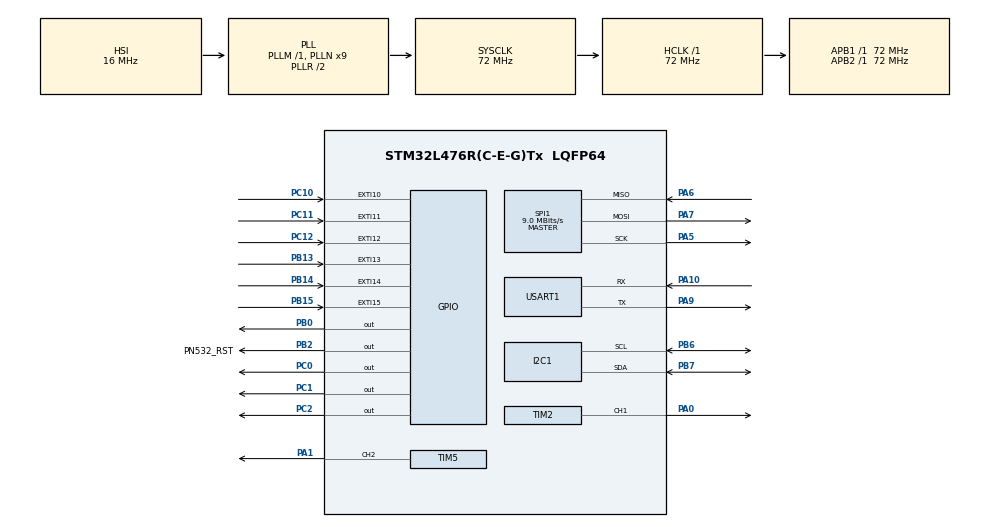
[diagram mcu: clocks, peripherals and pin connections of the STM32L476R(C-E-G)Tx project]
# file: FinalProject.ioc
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Dma.Request0=TIM2_CH1
Dma.TIM2_CH1.0.Direction=DMA_MEMORY_TO_PERIPH
Dma.TIM2_CH1.0.Instance=DMA1_Channel5
Dma.TIM2_CH1.0.MemDataAlignment=DMA_MDATAALIGN_BYTE
Dma.TIM2_CH1.0.MemInc=DMA_MINC_ENABLE
Dma.TIM2_CH1.0.Mode=DMA_CIRCULAR
Dma.TIM2_CH1.0.PeriphDataAlignment=DMA_PDATAALIGN_WORD
Dma.TIM2_CH1.0.PeriphInc=DMA_PINC_DISABLE
Dma.TIM2_CH1.0.Priority=DMA_PRIORITY_HIGH
FATFS._MAX_SS=4096
FATFS._USE_LFN=1
I2C1.OwnAddress=0x48
I2C1.Timing=0x10808DD3
Mcu.Family=STM32L4
Mcu.Name=STM32L476R(C-E-G)Tx
Mcu.Package=LQFP64
NVIC.DMA1_Channel5_IRQn=true\:0\:0\:false\:false\:true\:false\:true
NVIC.EXTI15_10_IRQn=true\:0\:0\:false\:false\:true\:true\:true
NVIC.PriorityGroup=NVIC_PRIORITYGROUP_4
NVIC.TIM3_IRQn=true\:0\:0\:false\:false\:true\:true\:true
PA0.Signal=S_TIM2_CH1
PA1.Signal=S_TIM5_CH2
PA10.Mode=Asynchronous
PA10.Signal=USART1_RX
PA13\ (JTMS-SWDIO).Mode=Serial_Wire
PA13\ (JTMS-SWDIO).Signal=SYS_JTMS-SWDIO
PA14\ (JTCK-SWCLK).Mode=Serial_Wire
PA14\ (JTCK-SWCLK).Signal=SYS_JTCK-SWCLK
PA5.Mode=Full_Duplex_Master
PA5.Signal=SPI1_SCK
PA6.Mode=Full_Duplex_Master
PA6.Signal=SPI1_MISO
PA7.Mode=Full_Duplex_Master
PA7.Signal=SPI1_MOSI
PA9.Mode=Asynchronous
PA9.Signal=USART1_TX
PB0.GPIO_Speed=GPIO_SPEED_FREQ_MEDIUM
PB0.PinState=GPIO_PIN_SET
PB0.Signal=GPIO_Output
PB13.GPIO_ModeDefaultEXTI=GPIO_MODE_IT_FALLING
PB13.Signal=GPXTI13
PB14.GPIO_ModeDefaultEXTI=GPIO_MODE_IT_FALLING
PB14.Signal=GPXTI14
PB15.GPIO_ModeDefaultEXTI=GPIO_MODE_IT_FALLING
PB15.Signal=GPXTI15
PB2.GPIO_Label=PN532_RST
PB2.GPIO_PuPd=GPIO_PULLUP
PB2.PinState=GPIO_PIN_SET
PB2.Signal=GPIO_Output
PB6.Mode=I2C
PB6.Signal=I2C1_SCL
PB7.Mode=I2C
PB7.Signal=I2C1_SDA
PC0.GPIO_Speed=GPIO_SPEED_FREQ_HIGH
PC0.PinState=GPIO_PIN_SET
PC0.Signal=GPIO_Output
PC1.GPIO_Speed=GPIO_SPEED_FREQ_HIGH
PC1.PinState=GPIO_PIN_SET
PC1.Signal=GPIO_Output
PC10.GPIO_ModeDefaultEXTI=GPIO_MODE_IT_FALLING
PC10.GPIO_PuPd=GPIO_PULLUP
PC10.Signal=GPXTI10
PC11.GPIO_ModeDefaultEXTI=GPIO_MODE_IT_FALLING
PC11.GPIO_PuPd=GPIO_PULLUP
PC11.Signal=GPXTI11
PC12.GPIO_ModeDefaultEXTI=GPIO_MODE_IT_FALLING
PC12.GPIO_PuPd=GPIO_PULLUP
PC12.Signal=GPXTI12
PC2.GPIO_Speed=GPIO_SPEED_FREQ_HIGH
PC2.PinState=GPIO_PIN_SET
PC2.Signal=GPIO_Output
PH0-OSC_IN\ (PH0).Mode=HSE-External-Oscillator
PH0-OSC_IN\ (PH0).Signal=RCC_OSC_IN
PH1-OSC_OUT\ (PH1).Mode=HSE-External-Oscillator
PH1-OSC_OUT\ (PH1).Signal=RCC_OSC_OUT
ProjectManager.HeapSize=0x200
ProjectManager.StackSize=0x400
ProjectManager.TargetToolchain=STM32CubeIDE
RCC.ADCFreq_Value=64000000
RCC.AHBFreq_Value=72000000
RCC.APB1Freq_Value=72000000
RCC.APB1TimFreq_Value=72000000
RCC.APB2Freq_Value=72000000
RCC.APB2TimFreq_Value=72000000
RCC.CortexFreq_Value=72000000
RCC.HCLKFreq_Value=72000000
RCC.HSE_VALUE=8000000
RCC.HSI_VALUE=16000000
RCC.LSE_VALUE=32768
RCC.MSI_VALUE=4000000
RCC.PLLN=9
RCC.PLLSAI1Q=RCC_PLLQ_DIV4
RCC.PLLSourceVirtual=RCC_PLLSOURCE_HSI
RCC.SYSCLKFreq_VALUE=72000000
RCC.SYSCLKSource=RCC_SYSCLKSOURCE_PLLCLK
RCC.USBFreq_Value=32000000
RCC.VCOOutputFreq_Value=144000000
SH.S_TIM2_CH1.0=TIM2_CH1,PWM Generation1 CH1
SH.S_TIM5_CH2.0=TIM5_CH2,PWM Generation2 CH2
SPI1.BaudRatePrescaler=SPI_BAUDRATEPRESCALER_8
SPI1.CalculateBaudRate=9.0 MBits/s
SPI1.DataSize=SPI_DATASIZE_8BIT
SPI1.Direction=SPI_DIRECTION_2LINES
SPI1.Mode=SPI_MODE_MASTER
SPI1.VirtualType=VM_MASTER
TIM2.Channel-PWM\ Generation1\ CH1=TIM_CHANNEL_1
TIM2.Period=90-1
TIM3.AutoReloadPreload=TIM_AUTORELOAD_PRELOAD_ENABLE
TIM3.Period=9999
TIM3.Prescaler=7199
TIM5.AutoReloadPreload=TIM_AUTORELOAD_PRELOAD_ENABLE
TIM5.Channel-PWM\ Generation2\ CH2=TIM_CHANNEL_2
TIM5.Period=3600
TIM5.Prescaler=100
TIM5.Pulse-PWM\ Generation2\ CH2=2000
USART1.VirtualMode-Asynchronous=VM_ASYNC
VP_FATFS_VS_Generic.Mode=User_defined
VP_RNG_VS_RNG.Mode=RNG_Activate
VP_TIM2_VS_ClockSourceINT.Mode=Internal
VP_TIM3_VS_ClockSourceINT.Mode=Internal
VP_TIM5_VS_ClockSourceINT.Mode=Internal
board=custom

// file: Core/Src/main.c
/* USER CODE BEGIN Header */
/**
  ******************************************************************************
  * @file           : main.c
  * @brief          : Main program body
  ******************************************************************************
  * @attention
  *
  * <h2><center>&copy; Copyright (c) 2020 STMicroelectronics.
  * All rights reserved.</center></h2>
  *
  * This software component is licensed by ST under BSD 3-Clause license,
  * the "License"; You may not use this file except in compliance with the
  * License. You may obtain a copy of the License at:
  *                        opensource.org/licenses/BSD-3-Clause
  *
  ******************************************************************************
  */
/* USER CODE END Header */
#include "main.h"
#include "fatfs.h"

/* USER CODE BEGIN Includes */
#include "fatfs_sd.h"
#include "string.h"
#include "stdio.h"
#include "sk6812.h"
#include "pn532_stm32f1.h"
#define SET_REG(REG,SELECT,VAL) {((REG)=((REG)&(~(SELECT))) | (VAL));}
extern void max7219_init();
extern void ClearScreen();
extern void max7219_send(unsigned char, unsigned char);
extern void Max7219Display(int num, int score);
int time;
int score;
int my_hash[100] = {
	1,5,3,6,3,2,3,5,3,2,1,6,4,5,3,2,4,3,2,4,
	1,6,3,5,2,5,2,4,3,2,6,3,2,4,3,5,6,2,5,3,
	1,3,2,5,3,4,6,3,5,4,2,1,2,1,4,3,6,4,3,5,
	6,4,6,1,3,2,5,3,3,5,2,6,5,4,3,2,4,3,6,3,
	1,4,1,2,4,6,2,5,3,4,2,5,4,6,3,2,4,2,1,5
};
int hash_num = 0;
int hash_out = 0;

#define STATE_IDLE 0
#define STATE_READY 1
#define STATE_PLAY 2

int state = STATE_IDLE;

/* USER CODE END Includes */

I2C_HandleTypeDef hi2c1;

RNG_HandleTypeDef hrng;

SPI_HandleTypeDef hspi1;

TIM_HandleTypeDef htim2;
TIM_HandleTypeDef htim3;
TIM_HandleTypeDef htim5;
DMA_HandleTypeDef hdma_tim2_ch1;

UART_HandleTypeDef huart1;

void SystemClock_Config(void);
static void MX_GPIO_Init(void);
static void MX_DMA_Init(void);
static void MX_SPI1_Init(void);
static void MX_USART1_UART_Init(void);
static void MX_TIM2_Init(void);
static void MX_RNG_Init(void);
static void MX_TIM3_Init(void);
static void MX_TIM5_Init(void);
static void MX_I2C1_Init(void);
/* USER CODE BEGIN PFP */
uint32_t hsl_to_rgb(uint8_t h, uint8_t s, uint8_t l);
void Max7219Display(int num, int score);
/* USER CODE END PFP */

/* USER CODE BEGIN 0 */
FATFS fs; // file system
FIL fil; // file
FRESULT fresult; // to store the result
char buffer[1024]; // to store data

UINT br,bw;   //file read/write count

/*capacity related variables*/
FATFS *pfs;
DWORD fre_clust;
uint32_t total, free_space;

/* to send the data to the uart*/
void send_uart(char *string)
{
	uint8_t len = strlen(string);
	HAL_UART_Transmit(&huart1, (uint8_t *) string, len, 2000);
}

int bufsize(char *buf)
{
	int i=0;
	while(*buf++ != '\0') i++;
	return i;
}

void bufclear(void)
{
	for(int i=0;i<1024;i++)
	{
		buffer[i] = '\0';
	}
}

void writedata(char *filename,char *data)
{
	bufclear();
	fresult = f_open(&fil, filename, FA_READ);
	if (fresult == FR_OK)
	{
		//send_uart ("file exist \r\n");
		f_gets(buffer, sizeof(buffer), &fil);
		//send_uart(buffer);
		//send_uart("\r\n");
		f_close(&fil);
	}
	fresult = f_open(&fil, filename, FA_OPEN_ALWAYS | FA_READ | FA_WRITE);
	if (fresult == FR_OK)
	{
		//send_uart ("file is opened \r\n");
	}
	strcat(buffer, data);
	f_puts(buffer, &fil);
	fresult = f_close(&fil);
	if (fresult == FR_OK)
	{
		//send_uart ("file created and the data is written \r\n");
	}
}

int readdata(char *filename)
{
	bufclear();
	fresult = f_open(&fil, filename, FA_READ);
	if (fresult == FR_OK)
	{
		//send_uart ("exist \r\n");
		f_gets(buffer, sizeof(buffer), &fil);
		//send_uart(buffer);
		//send_uart("\r\n");
		f_close(&fil);
		return 1;
	}
	return 0;
}

/* USER CODE END 0 */

int main(void)
{
  /* USER CODE BEGIN 1 */
	uint8_t buff[255];
	uint8_t uid[MIFARE_UID_MAX_LENGTH];
	int32_t uid_len = 0;
  /* USER CODE END 1 */

  /* MCU Configuration--------------------------------------------------------*/

  /* Reset of all peripherals, Initializes the Flash interface and the Systick. */
  HAL_Init();

  /* Configure the system clock */
  SystemClock_Config();

  /* Initialize all configured peripherals */
  MX_GPIO_Init();
  MX_DMA_Init();
  MX_SPI1_Init();
  MX_USART1_UART_Init();
  MX_FATFS_Init();
  MX_TIM2_Init();
  MX_RNG_Init();
  MX_TIM3_Init();
  MX_TIM5_Init();
  MX_I2C1_Init();
  /* USER CODE BEGIN 2 */

  //pn532 start
  HAL_NVIC_DisableIRQ(EXTI15_10_IRQn);
  PN532 pn532;
  PN532_I2C_Init(&pn532);
  PN532_GetFirmwareVersion(&pn532, buff);

  if (PN532_GetFirmwareVersion(&pn532, buff) == PN532_STATUS_OK) {
	send_uart("Found PN532 with firmware version\r\n");
  } else {
	send_uart("FAIL");
	return -1;
  }
  PN532_SamConfiguration(&pn532);
  send_uart("\r\nWaiting for RFID/NFC card...\r\n");
//pn532 end

  char uid_str[15] = {0};
  char uid_str_display[15] = {0};

  SET_REG(RCC->CFGR,RCC_CFGR_HPRE,0b1011<<4)
  max7219_init();
  ClearScreen();
  SET_REG(RCC->CFGR,RCC_CFGR_HPRE,0b0000<<4)
  int8_t angle = 0;
  const uint8_t angle_difference = 11;
  time = 0;
  score = 0;
  Max7219Display(0,0);
  HAL_TIM_Base_Start_IT(&htim3);

  score = 0;
  hash_num = 0;
  Max7219Display(score,0);
  /* Mount SD Card*/

  fresult = f_mount(&fs, "", 0);
  if(fresult != FR_OK) send_uart("error in mounting SD CARD ... \r\n");
  else send_uart("SD CARD mounted successfully ... \r\n");

  int now_time = 0, prev_time = 0;

  /* USER CODE END 2 */

  /* Infinite loop */
  /* USER CODE BEGIN WHILE */
  //led_set_all_RGB(255,255,255);

  //led_set_RGB(0,255,0,0);
  //led_set_RGB(1,0,255,0);
  //led_set_RGB(2,0,0,255);
  //led_render(); // transmit to WS2812
  while (1)
  {
    /* USER CODE END WHILE */

    /* USER CODE BEGIN 3 */prev_time = now_time;
	now_time = time;
	if(prev_time != time){
		HAL_TIM_PWM_Start(&htim5, TIM_CHANNEL_2);
		HAL_Delay(20);
		HAL_TIM_PWM_Stop(&htim5, TIM_CHANNEL_2);
	}

	if(state == STATE_IDLE){
		//LED start
		for(uint8_t i = 0; i < 132 ; i++)
	  {
		// Calculate color
		uint32_t rgb_color = hsl_to_rgb(angle + (i * angle_difference), 255, 50); // hue, saturation, lightness
		// Set color
		led_set_RGB(i, (rgb_color >> 16) & 0xFF, (rgb_color >> 8) & 0xFF, rgb_color & 0xFF);
	   }
		// Write to LED
		angle+=10;
		led_render();
		// Some delay
		HAL_Delay(10);
		//LED end

		uid_len = PN532_ReadPassiveTarget(&pn532, uid, PN532_MIFARE_ISO14443A, 100);
		if (uid_len == PN532_STATUS_ERROR) {
			//send_uart(".");
		} else {
			send_uart("Found card with UID: ");
		  for (uint8_t i = 0; i < uid_len; i++) {
			  char temp[10];
			  itoa(uid[i], temp, 16);
			  send_uart(temp);
			  if(i < uid_len-1)
				  send_uart("_");
			  uid_str[i*2] = temp[0];
			  uid_str[i*2+1] = temp[1];
		  }
		  strcpy(uid_str_display, uid_str);
		  strcat(uid_str, ".txt");
		  send_uart("  uid:");
		  send_uart(uid_str);
		  send_uart("\r\n");

		  for(int i = 0; i <132; i ++)
			  led_set_RGB(i,0,0,0);

		  led_render();
		  state = STATE_READY;
		  score = 0;
		  Max7219Display(score,0);
		  time = 4;
		  HAL_TIM_Base_Start_IT(&htim3);
		}
	}
	else if(state == STATE_READY){
		if(time == 0){
			time = 61;
			state = STATE_PLAY;
			if(readdata(uid_str))
			{
				send_uart("Hello: ");
				send_uart(uid_str_display);
				send_uart("\r\n");
				send_uart("Your history scores are \r\n");
				send_uart(buffer);
			}else
			{
				send_uart("New User: ");
				send_uart(uid_str_display);
				send_uart("\r\n");
			}
			int hash_out = my_hash[hash_num];
			for(int i = 1; i <= 6; i ++){
				for(int j = 0; j < 3; j++){//change here
					if(i == hash_out)
						led_set_RGB((i-1)*1+j+1,0,255,0);
					else
						led_set_RGB((i-1)*1+j+1,0,  0,0);
				}
			}
			led_render();

			HAL_NVIC_EnableIRQ(EXTI15_10_IRQn);
			HAL_TIM_Base_Start_IT(&htim3);
		}
	}
	else if(state == STATE_PLAY){
		if(time == 0){
			time = 0;
			HAL_NVIC_DisableIRQ(EXTI15_10_IRQn);
			state = STATE_IDLE;
			char tempp[10];
			itoa(score, tempp, 10);
			writedata(uid_str, tempp);
			writedata(uid_str, ", ");
			send_uart("Waiting for RFID/NFC card...\r\n");
			memset(uid_str, 0, 15);
		}
	}
	else{
		HAL_NVIC_DisableIRQ(EXTI15_10_IRQn);
		state = STATE_IDLE;
		send_uart("Waiting for RFID/NFC card...\r\n");
	}

  }
  /* USER CODE END 3 */
}

void SystemClock_Config(void)
{
  RCC_OscInitTypeDef RCC_OscInitStruct = {0};
  RCC_ClkInitTypeDef RCC_ClkInitStruct = {0};
  RCC_PeriphCLKInitTypeDef PeriphClkInit = {0};

  /** Initializes the RCC Oscillators according to the specified parameters
  * in the RCC_OscInitTypeDef structure.
  */
  RCC_OscInitStruct.OscillatorType = RCC_OSCILLATORTYPE_HSI;
  RCC_OscInitStruct.HSIState = RCC_HSI_ON;
  RCC_OscInitStruct.HSICalibrationValue = RCC_HSICALIBRATION_DEFAULT;
  RCC_OscInitStruct.PLL.PLLState = RCC_PLL_ON;
  RCC_OscInitStruct.PLL.PLLSource = RCC_PLLSOURCE_HSI;
  RCC_OscInitStruct.PLL.PLLM = 1;
  RCC_OscInitStruct.PLL.PLLN = 9;
  RCC_OscInitStruct.PLL.PLLP = RCC_PLLP_DIV7;
  RCC_OscInitStruct.PLL.PLLQ = RCC_PLLQ_DIV2;
  RCC_OscInitStruct.PLL.PLLR = RCC_PLLR_DIV2;
  if (HAL_RCC_OscConfig(&RCC_OscInitStruct) != HAL_OK)
  {
    Error_Handler();
  }
  /** Initializes the CPU, AHB and APB buses clocks
  */
  RCC_ClkInitStruct.ClockType = RCC_CLOCKTYPE_HCLK|RCC_CLOCKTYPE_SYSCLK
                              |RCC_CLOCKTYPE_PCLK1|RCC_CLOCKTYPE_PCLK2;
  RCC_ClkInitStruct.SYSCLKSource = RCC_SYSCLKSOURCE_PLLCLK;
  RCC_ClkInitStruct.AHBCLKDivider = RCC_SYSCLK_DIV1;
  RCC_ClkInitStruct.APB1CLKDivider = RCC_HCLK_DIV1;
  RCC_ClkInitStruct.APB2CLKDivider = RCC_HCLK_DIV1;

  if (HAL_RCC_ClockConfig(&RCC_ClkInitStruct, FLASH_LATENCY_4) != HAL_OK)
  {
    Error_Handler();
  }
  PeriphClkInit.PeriphClockSelection = RCC_PERIPHCLK_USART1|RCC_PERIPHCLK_I2C1
                              |RCC_PERIPHCLK_RNG;
  PeriphClkInit.Usart1ClockSelection = RCC_USART1CLKSOURCE_PCLK2;
  PeriphClkInit.I2c1ClockSelection = RCC_I2C1CLKSOURCE_PCLK1;
  PeriphClkInit.RngClockSelection = RCC_RNGCLKSOURCE_PLLSAI1;
  PeriphClkInit.PLLSAI1.PLLSAI1Source = RCC_PLLSOURCE_HSI;
  PeriphClkInit.PLLSAI1.PLLSAI1M = 1;
  PeriphClkInit.PLLSAI1.PLLSAI1N = 8;
  PeriphClkInit.PLLSAI1.PLLSAI1P = RCC_PLLP_DIV7;
  PeriphClkInit.PLLSAI1.PLLSAI1Q = RCC_PLLQ_DIV4;
  PeriphClkInit.PLLSAI1.PLLSAI1R = RCC_PLLR_DIV2;
  PeriphClkInit.PLLSAI1.PLLSAI1ClockOut = RCC_PLLSAI1_48M2CLK;
  if (HAL_RCCEx_PeriphCLKConfig(&PeriphClkInit) != HAL_OK)
  {
    Error_Handler();
  }
  /** Configure the main internal regulator output voltage
  */
  if (HAL_PWREx_ControlVoltageScaling(PWR_REGULATOR_VOLTAGE_SCALE1) != HAL_OK)
  {
    Error_Handler();
  }
}

static void MX_I2C1_Init(void)
{

  hi2c1.Instance = I2C1;
  hi2c1.Init.Timing = 0x10808DD3;
  hi2c1.Init.OwnAddress1 = 144;
  hi2c1.Init.AddressingMode = I2C_ADDRESSINGMODE_7BIT;
  hi2c1.Init.DualAddressMode = I2C_DUALADDRESS_DISABLE;
  hi2c1.Init.OwnAddress2 = 0;
  hi2c1.Init.OwnAddress2Masks = I2C_OA2_NOMASK;
  hi2c1.Init.GeneralCallMode = I2C_GENERALCALL_DISABLE;
  hi2c1.Init.NoStretchMode = I2C_NOSTRETCH_DISABLE;
  if (HAL_I2C_Init(&hi2c1) != HAL_OK)
  {
    Error_Handler();
  }
  /** Configure Analogue filter
  */
  if (HAL_I2CEx_ConfigAnalogFilter(&hi2c1, I2C_ANALOGFILTER_ENABLE) != HAL_OK)
  {
    Error_Handler();
  }
  /** Configure Digital filter
  */
  if (HAL_I2CEx_ConfigDigitalFilter(&hi2c1, 0) != HAL_OK)
  {
    Error_Handler();
  }

}

static void MX_RNG_Init(void)
{

  hrng.Instance = RNG;
  if (HAL_RNG_Init(&hrng) != HAL_OK)
  {
    Error_Handler();
  }

}

static void MX_SPI1_Init(void)
{

  /* SPI1 parameter configuration*/
  hspi1.Instance = SPI1;
  hspi1.Init.Mode = SPI_MODE_MASTER;
  hspi1.Init.Direction = SPI_DIRECTION_2LINES;
  hspi1.Init.DataSize = SPI_DATASIZE_8BIT;
  hspi1.Init.CLKPolarity = SPI_POLARITY_LOW;
  hspi1.Init.CLKPhase = SPI_PHASE_1EDGE;
  hspi1.Init.NSS = SPI_NSS_SOFT;
  hspi1.Init.BaudRatePrescaler = SPI_BAUDRATEPRESCALER_8;
  hspi1.Init.FirstBit = SPI_FIRSTBIT_MSB;
  hspi1.Init.TIMode = SPI_TIMODE_DISABLE;
  hspi1.Init.CRCCalculation = SPI_CRCCALCULATION_DISABLE;
  hspi1.Init.CRCPolynomial = 7;
  hspi1.Init.CRCLength = SPI_CRC_LENGTH_DATASIZE;
  hspi1.Init.NSSPMode = SPI_NSS_PULSE_ENABLE;
  if (HAL_SPI_Init(&hspi1) != HAL_OK)
  {
    Error_Handler();
  }

}

static void MX_TIM2_Init(void)
{

  TIM_ClockConfigTypeDef sClockSourceConfig = {0};
  TIM_MasterConfigTypeDef sMasterConfig = {0};
  TIM_OC_InitTypeDef sConfigOC = {0};

  htim2.Instance = TIM2;
  htim2.Init.Prescaler = 0;
  htim2.Init.CounterMode = TIM_COUNTERMODE_UP;
  htim2.Init.Period = 90-1;
  htim2.Init.ClockDivision = TIM_CLOCKDIVISION_DIV1;
  htim2.Init.AutoReloadPreload = TIM_AUTORELOAD_PRELOAD_DISABLE;
  if (HAL_TIM_Base_Init(&htim2) != HAL_OK)
  {
    Error_Handler();
  }
  sClockSourceConfig.ClockSource = TIM_CLOCKSOURCE_INTERNAL;
  if (HAL_TIM_ConfigClockSource(&htim2, &sClockSourceConfig) != HAL_OK)
  {
    Error_Handler();
  }
  if (HAL_TIM_PWM_Init(&htim2) != HAL_OK)
  {
    Error_Handler();
  }
  sMasterConfig.MasterOutputTrigger = TIM_TRGO_RESET;
  sMasterConfig.MasterSlaveMode = TIM_MASTERSLAVEMODE_DISABLE;
  if (HAL_TIMEx_MasterConfigSynchronization(&htim2, &sMasterConfig) != HAL_OK)
  {
    Error_Handler();
  }
  sConfigOC.OCMode = TIM_OCMODE_PWM1;
  sConfigOC.Pulse = 0;
  sConfigOC.OCPolarity = TIM_OCPOLARITY_HIGH;
  sConfigOC.OCFastMode = TIM_OCFAST_DISABLE;
  if (HAL_TIM_PWM_ConfigChannel(&htim2, &sConfigOC, TIM_CHANNEL_1) != HAL_OK)
  {
    Error_Handler();
  }
  HAL_TIM_MspPostInit(&htim2);

}

static void MX_TIM3_Init(void)
{

  TIM_ClockConfigTypeDef sClockSourceConfig = {0};
  TIM_MasterConfigTypeDef sMasterConfig = {0};

  htim3.Instance = TIM3;
  htim3.Init.Prescaler = 7199;
  htim3.Init.CounterMode = TIM_COUNTERMODE_UP;
  htim3.Init.Period = 9999;
  htim3.Init.ClockDivision = TIM_CLOCKDIVISION_DIV1;
  htim3.Init.AutoReloadPreload = TIM_AUTORELOAD_PRELOAD_ENABLE;
  if (HAL_TIM_Base_Init(&htim3) != HAL_OK)
  {
    Error_Handler();
  }
  sClockSourceConfig.ClockSource = TIM_CLOCKSOURCE_INTERNAL;
  if (HAL_TIM_ConfigClockSource(&htim3, &sClockSourceConfig) != HAL_OK)
  {
    Error_Handler();
  }
  sMasterConfig.MasterOutputTrigger = TIM_TRGO_RESET;
  sMasterConfig.MasterSlaveMode = TIM_MASTERSLAVEMODE_DISABLE;
  if (HAL_TIMEx_MasterConfigSynchronization(&htim3, &sMasterConfig) != HAL_OK)
  {
    Error_Handler();
  }

}

static void MX_TIM5_Init(void)
{

  TIM_ClockConfigTypeDef sClockSourceConfig = {0};
  TIM_MasterConfigTypeDef sMasterConfig = {0};
  TIM_OC_InitTypeDef sConfigOC = {0};

  htim5.Instance = TIM5;
  htim5.Init.Prescaler = 100;
  htim5.Init.CounterMode = TIM_COUNTERMODE_UP;
  htim5.Init.Period = 3600;
  htim5.Init.ClockDivision = TIM_CLOCKDIVISION_DIV1;
  htim5.Init.AutoReloadPreload = TIM_AUTORELOAD_PRELOAD_ENABLE;
  if (HAL_TIM_Base_Init(&htim5) != HAL_OK)
  {
    Error_Handler();
  }
  sClockSourceConfig.ClockSource = TIM_CLOCKSOURCE_INTERNAL;
  if (HAL_TIM_ConfigClockSource(&htim5, &sClockSourceConfig) != HAL_OK)
  {
    Error_Handler();
  }
  if (HAL_TIM_PWM_Init(&htim5) != HAL_OK)
  {
    Error_Handler();
  }
  sMasterConfig.MasterOutputTrigger = TIM_TRGO_RESET;
  sMasterConfig.MasterSlaveMode = TIM_MASTERSLAVEMODE_DISABLE;
  if (HAL_TIMEx_MasterConfigSynchronization(&htim5, &sMasterConfig) != HAL_OK)
  {
    Error_Handler();
  }
  sConfigOC.OCMode = TIM_OCMODE_PWM1;
  sConfigOC.Pulse = 2000;
  sConfigOC.OCPolarity = TIM_OCPOLARITY_HIGH;
  sConfigOC.OCFastMode = TIM_OCFAST_DISABLE;
  if (HAL_TIM_PWM_ConfigChannel(&htim5, &sConfigOC, TIM_CHANNEL_2) != HAL_OK)
  {
    Error_Handler();
  }
  HAL_TIM_MspPostInit(&htim5);

}

static void MX_USART1_UART_Init(void)
{

  huart1.Instance = USART1;
  huart1.Init.BaudRate = 115200;
  huart1.Init.WordLength = UART_WORDLENGTH_8B;
  huart1.Init.StopBits = UART_STOPBITS_1;
  huart1.Init.Parity = UART_PARITY_NONE;
  huart1.Init.Mode = UART_MODE_TX_RX;
  huart1.Init.HwFlowCtl = UART_HWCONTROL_NONE;
  huart1.Init.OverSampling = UART_OVERSAMPLING_16;
  huart1.Init.OneBitSampling = UART_ONE_BIT_SAMPLE_DISABLE;
  huart1.AdvancedInit.AdvFeatureInit = UART_ADVFEATURE_NO_INIT;
  if (HAL_UART_Init(&huart1) != HAL_OK)
  {
    Error_Handler();
  }

}

static void MX_DMA_Init(void)
{

  /* DMA controller clock enable */
  __HAL_RCC_DMA1_CLK_ENABLE();

  /* DMA interrupt init */
  /* DMA1_Channel5_IRQn interrupt configuration */
  HAL_NVIC_SetPriority(DMA1_Channel5_IRQn, 0, 0);
  HAL_NVIC_EnableIRQ(DMA1_Channel5_IRQn);

}

static void MX_GPIO_Init(void)
{
  GPIO_InitTypeDef GPIO_InitStruct = {0};

  /* GPIO Ports Clock Enable */
  __HAL_RCC_GPIOH_CLK_ENABLE();
  __HAL_RCC_GPIOC_CLK_ENABLE();
  __HAL_RCC_GPIOA_CLK_ENABLE();
  __HAL_RCC_GPIOB_CLK_ENABLE();

  /*Configure GPIO pin Output Level */
  HAL_GPIO_WritePin(GPIOC, GPIO_PIN_0|GPIO_PIN_1|GPIO_PIN_2, GPIO_PIN_SET);

  /*Configure GPIO pin Output Level */
  HAL_GPIO_WritePin(GPIOB, GPIO_PIN_0|PN532_RST_Pin, GPIO_PIN_SET);

  /*Configure GPIO pins : PC0 PC1 PC2 */
  GPIO_InitStruct.Pin = GPIO_PIN_0|GPIO_PIN_1|GPIO_PIN_2;
  GPIO_InitStruct.Mode = GPIO_MODE_OUTPUT_PP;
  GPIO_InitStruct.Pull = GPIO_NOPULL;
  GPIO_InitStruct.Speed = GPIO_SPEED_FREQ_HIGH;
  HAL_GPIO_Init(GPIOC, &GPIO_InitStruct);

  /*Configure GPIO pin : PB0 */
  GPIO_InitStruct.Pin = GPIO_PIN_0;
  GPIO_InitStruct.Mode = GPIO_MODE_OUTPUT_PP;
  GPIO_InitStruct.Pull = GPIO_NOPULL;
  GPIO_InitStruct.Speed = GPIO_SPEED_FREQ_MEDIUM;
  HAL_GPIO_Init(GPIOB, &GPIO_InitStruct);

  /*Configure GPIO pin : PN532_RST_Pin */
  GPIO_InitStruct.Pin = PN532_RST_Pin;
  GPIO_InitStruct.Mode = GPIO_MODE_OUTPUT_PP;
  GPIO_InitStruct.Pull = GPIO_PULLUP;
  GPIO_InitStruct.Speed = GPIO_SPEED_FREQ_LOW;
  HAL_GPIO_Init(PN532_RST_GPIO_Port, &GPIO_InitStruct);

  /*Configure GPIO pins : PB13 PB14 PB15 */
  GPIO_InitStruct.Pin = GPIO_PIN_13|GPIO_PIN_14|GPIO_PIN_15;
  GPIO_InitStruct.Mode = GPIO_MODE_IT_FALLING;
  GPIO_InitStruct.Pull = GPIO_NOPULL;
  HAL_GPIO_Init(GPIOB, &GPIO_InitStruct);

  /*Configure GPIO pins : PC10 PC11 PC12 */
  GPIO_InitStruct.Pin = GPIO_PIN_10|GPIO_PIN_11|GPIO_PIN_12;
  GPIO_InitStruct.Mode = GPIO_MODE_IT_FALLING;
  GPIO_InitStruct.Pull = GPIO_PULLUP;
  HAL_GPIO_Init(GPIOC, &GPIO_InitStruct);

  /* EXTI interrupt init*/
  HAL_NVIC_SetPriority(EXTI15_10_IRQn, 0, 0);
  HAL_NVIC_EnableIRQ(EXTI15_10_IRQn);

}

/* USER CODE BEGIN 4 */
uint32_t hsl_to_rgb(uint8_t h, uint8_t s, uint8_t l) {
	if(l == 0) return 0;

	volatile uint8_t  r, g, b, lo, c, x, m;
	volatile uint16_t h1, l1, H;
	l1 = l + 1;
	if (l < 128)    c = ((l1 << 1) * s) >> 8;
	else            c = (512 - (l1 << 1)) * s >> 8;

	H = h * 6;              // 0 to 1535 (actually 1530)
	lo = H & 255;           // Low byte  = primary/secondary color mix
	h1 = lo + 1;

	if ((H & 256) == 0)   x = h1 * c >> 8;          // even sextant, like red to yellow
	else                  x = (256 - h1) * c >> 8;  // odd sextant, like yellow to green

	m = l - (c >> 1);
	switch(H >> 8) {       // High byte = sextant of colorwheel
	 case 0 : r = c; g = x; b = 0; break; // R to Y
	 case 1 : r = x; g = c; b = 0; break; // Y to G
	 case 2 : r = 0; g = c; b = x; break; // G to C
	 case 3 : r = 0; g = x; b = c; break; // C to B
	 case 4 : r = x; g = 0; b = c; break; // B to M
	 default: r = c; g = 0; b = x; break; // M to R
	}

	return (((uint32_t)r + m) << 16) | (((uint32_t)g + m) << 8) | ((uint32_t)b + m);
}
// score 0 -> score
// score 4 -> time
void Max7219Display(int num, int score)
{
	SET_REG(RCC->CFGR,RCC_CFGR_HPRE,0b1011<<4)
	for(int i = 1; i < 4; i++){
		max7219_send(i+score, num%10);
		num /= 10;
	}
	SET_REG(RCC->CFGR,RCC_CFGR_HPRE,0b0000<<4)
}
/* USER CODE END 4 */

void Error_Handler(void)
{
  __disable_irq();
  while (1)
  {
  }
}

/************************ (C) COPYRIGHT STMicroelectronics *****END OF FILE****/
